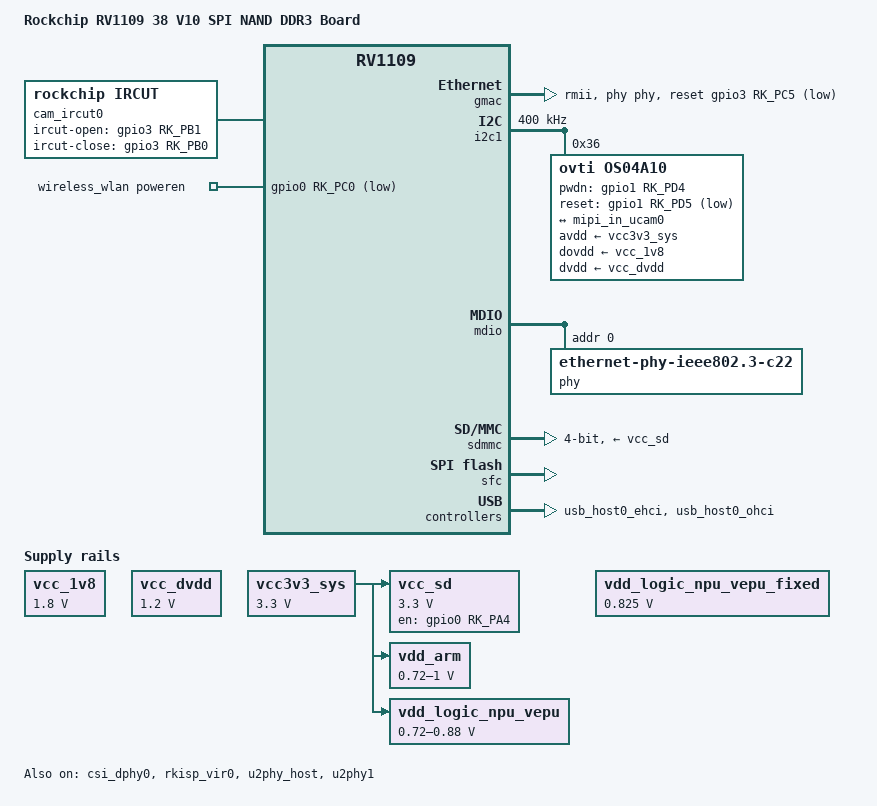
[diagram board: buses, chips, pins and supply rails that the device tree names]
// SPDX-License-Identifier: (GPL-2.0+ OR MIT)
/*
 * Copyright (c) 2020 Rockchip Electronics Co., Ltd.
 */

/dts-v1/;
#include "rv1109.dtsi"
#include "rv1126-ipc.dtsi"

/ {
	model = "Rockchip RV1109 38 V10 SPI NAND DDR3 Board";
	compatible = "rockchip,rv1109-38-v10-spi-nand", "rockchip,rv1109";

	chosen {
		bootargs = "earlycon=uart8250,mmio32,0xff570000 console=ttyFIQ0 ubi.mtd=2 root=ubi0:rootfs rootfstype=ubifs snd_aloop.index=7";
	};

	/delete-node/ vdd-npu;
	/delete-node/ vdd-vepu;

	cam_ircut0: cam_ircut {
		compatible = "rockchip,ircut";
		status = "okay";
		ircut-open-gpios = <&gpio3 RK_PB1 GPIO_ACTIVE_HIGH>;
		ircut-close-gpios = <&gpio3 RK_PB0 GPIO_ACTIVE_HIGH>;
		pinctrl-names = "default";
		pinctrl-0 = <&ircut_pins>;
		rockchip,camera-module-index = <1>;
		rockchip,camera-module-facing = "front";
	};

	vcc_1v8: vcc-1v8 {
		compatible = "regulator-fixed";
		regulator-name = "vcc_1v8";
		regulator-always-on;
		regulator-boot-on;
		regulator-min-microvolt = <1800000>;
		regulator-max-microvolt = <1800000>;
	};

	vcc_dvdd: vcc-dvdd {
		compatible = "regulator-fixed";
		regulator-name = "vcc_dvdd";
		regulator-always-on;
		regulator-boot-on;
		regulator-min-microvolt = <1200000>;
		regulator-max-microvolt = <1200000>;
	};

	vcc3v3_sys: vcc33sys {
		compatible = "regulator-fixed";
		regulator-name = "vcc3v3_sys";
		regulator-always-on;
		regulator-boot-on;
		regulator-min-microvolt = <3300000>;
		regulator-max-microvolt = <3300000>;
	};

	vcc_sd: vcc-sd {
		compatible = "regulator-fixed";
		gpio = <&gpio0 RK_PA4 GPIO_ACTIVE_HIGH>;
		pinctrl-0 = <&sdmmc_pwr>;
		pinctrl-names = "default";
		regulator-name = "vcc_sd";
		regulator-min-microvolt = <3300000>;
		regulator-max-microvolt = <3300000>;
		startup-delay-us = <100000>;
		vin-supply = <&vcc3v3_sys>;
		enable-active-high;
	};

	vdd_arm: vdd-arm {
		compatible = "pwm-regulator";
		pwms = <&pwm0 0 5000 1>;
		regulator-name = "vdd_arm";
		regulator-min-microvolt = <720000>;
		regulator-max-microvolt = <1000000>;
		regulator-init-microvolt = <825000>;
		regulator-always-on;
		regulator-boot-on;
		regulator-settling-time-up-us = <250>;
		pwm-supply = <&vcc3v3_sys>;
		status = "okay";
	};

	/*
	 * pwm1 is reserved as voltage adjustment in hardware
	 * use fixed regulator to avoid voltage adjustment by software
	 */
	vdd_logic_npu_vepu: vdd-logic-npu-vepu {
		compatible = "pwm-regulator";
		pwms = <&pwm1 0 5000 1>;
		regulator-name = "vdd_logic_npu_vepu";
		regulator-min-microvolt = <720000>;
		regulator-max-microvolt = <880000>;
		regulator-init-microvolt = <825000>;
		regulator-always-on;
		regulator-boot-on;
		regulator-settling-time-up-us = <250>;
		pwm-supply = <&vcc3v3_sys>;
		status = "okay";
	};

	vdd_logic_npu_vepu_fixed: vdd-logic-npu-vepu-fixed {
		compatible = "regulator-fixed";
		regulator-name = "vdd_logic_npu_vepu-fixed";
		regulator-always-on;
		regulator-boot-on;
		regulator-min-microvolt = <825000>;
		regulator-max-microvolt = <825000>;
	};

	wireless_wlan: wireless-wlan {
		compatible = "wlan-platdata";
		rockchip,grf = <&grf>;
		wifi_chip_type = "rtl8188fu";
		WIFI,poweren_gpio = <&gpio0 RK_PC0 GPIO_ACTIVE_LOW>;
		status = "okay";
	};

};

&csi_dphy0 {
	status = "okay";

	ports {
		#address-cells = <1>;
		#size-cells = <0>;
		port@0 {
			reg = <0>;
			#address-cells = <1>;
			#size-cells = <0>;

			mipi_in_ucam0: endpoint@1 {
				reg = <1>;
				remote-endpoint = <&ucam_out0>;
				data-lanes = <1 2 3 4>;
			};
		};
		port@1 {
			reg = <1>;
			#address-cells = <1>;
			#size-cells = <0>;

			csidphy0_out: endpoint@0 {
				reg = <0>;
				remote-endpoint = <&isp_in>;
			};
		};
	};
};

&gmac {
	phy-mode = "rmii";
	clock_in_out = "output";

	snps,reset-gpio = <&gpio3 RK_PC5 GPIO_ACTIVE_LOW>;
	snps,reset-active-low;
	snps,reset-delays-us = <0 50000 50000>;

	assigned-clocks = <&cru CLK_GMAC_SRC>, <&cru CLK_GMAC_TX_RX>;
	assigned-clock-parents = <&cru CLK_GMAC_SRC_M0>, <&cru RMII_MODE_CLK>;
	assigned-clock-rates = <50000000>;

	pinctrl-names = "default";
	pinctrl-0 = <&rmiim0_miim &rgmiim0_rxer &rmiim0_bus2 &rgmiim0_mclkinout_level0>;

	phy-handle = <&phy>;
	status = "okay";
};

&i2c1 {
	status = "okay";
	clock-frequency = <400000>;

	os04a10: os04a10@36 {
		compatible = "ovti,os04a10";
		reg = <0x36>;
		clocks = <&cru CLK_MIPICSI_OUT>;
		clock-names = "xvclk";
		power-domains = <&power RV1126_PD_VI>;
		pinctrl-names = "rockchip,camera_default";
		pinctrl-0 = <&mipicsi_clk0>;
		avdd-supply = <&vcc3v3_sys>;
		dovdd-supply = <&vcc_1v8>;
		dvdd-supply = <&vcc_dvdd>;
		pwdn-gpios = <&gpio1 RK_PD4 GPIO_ACTIVE_HIGH>;
		reset-gpios = <&gpio1 RK_PD5 GPIO_ACTIVE_LOW>;
		rockchip,camera-module-index = <1>;
		rockchip,camera-module-facing = "front";
		rockchip,camera-module-name = "CMK-OT1607-FV1";
		rockchip,camera-module-lens-name = "M12-40IRC-4MP-F16";
		ir-cut = <&cam_ircut0>;

		port {
			ucam_out0: endpoint {
				remote-endpoint = <&mipi_in_ucam0>;
				data-lanes = <1 2 3 4>;
			};
		};
	};
};

&mdio {
	phy: phy@0 {
		compatible = "ethernet-phy-ieee802.3-c22";
		reg = <0x0>;
	};
};

&npu {
	npu-supply = <&vdd_logic_npu_vepu_fixed>;
};

&pinctrl {
	ircut {
		/omit-if-no-ref/
		ircut_pins: ircut-pins {
			rockchip,pins = <3 RK_PB0 RK_FUNC_GPIO &pcfg_pull_up>,
					<3 RK_PB1 RK_FUNC_GPIO &pcfg_pull_up>;
		};
	};

	sdmmc-pwr {
		/omit-if-no-ref/
		sdmmc_pwr: sdmmc-pwr {
			rockchip,pins = <0 RK_PA4 RK_FUNC_GPIO &pcfg_pull_none>;
		};
	};
};

&pmu_io_domains {
	status = "okay";

	pmuio0-supply = <&vcc3v3_sys>;
	pmuio1-supply = <&vcc3v3_sys>;
	vccio2-supply = <&vcc3v3_sys>;
	vccio4-supply = <&vcc_1v8>;
	vccio5-supply = <&vcc3v3_sys>;
	vccio6-supply = <&vcc3v3_sys>;
	vccio7-supply = <&vcc3v3_sys>;
};

&rkisp_vir0 {
	status = "okay";

	ports {
		port@0 {
			reg = <0>;
			#address-cells = <1>;
			#size-cells = <0>;

			isp_in: endpoint@0 {
				reg = <0>;
				remote-endpoint = <&csidphy0_out>;
			};
		};
	};
};

&rkvenc {
	venc-supply = <&vdd_logic_npu_vepu_fixed>;
};

&rockchip_suspend {
	status = "okay";
	rockchip,sleep-debug-en = <1>;
	rockchip,sleep-mode-config = <
		(0
		| RKPM_SLP_ARMOFF
		| RKPM_SLP_PMU_PMUALIVE_32K
		| RKPM_SLP_PMU_DIS_OSC
		)
	>;
};

&sdmmc0_bus4 {
	rockchip,pins =
		/* sdmmc0_d0 */
		<1 RK_PA4 1 &pcfg_pull_up_drv_level_0>,
		/* sdmmc0_d1 */
		<1 RK_PA5 1 &pcfg_pull_up_drv_level_0>,
		/* sdmmc0_d2 */
		<1 RK_PA6 1 &pcfg_pull_up_drv_level_0>,
		/* sdmmc0_d3 */
		<1 RK_PA7 1 &pcfg_pull_up_drv_level_0>;
};

&sdmmc0_clk {
	rockchip,pins =
		/* sdmmc0_clk */
		<1 RK_PB0 1 &pcfg_pull_up_drv_level_3>;
};

&sdmmc0_cmd {
	rockchip,pins =
		/* sdmmc0_cmd */
		<1 RK_PB1 1 &pcfg_pull_up_drv_level_0>;
};

&sdmmc {
	bus-width = <4>;
	cap-mmc-highspeed;
	cap-sd-highspeed;
	card-detect-delay = <200>;
	rockchip,default-sample-phase = <90>;
	supports-sd;
	status = "okay";
	vmmc-supply = <&vcc_sd>;
};

&sfc {
	status = "okay";
};

&u2phy_host {
	status = "okay";
};

&u2phy1 {
	status = "okay";
};

&usb_host0_ehci {
	status = "okay";
};

&usb_host0_ohci {
	status = "okay";
};
